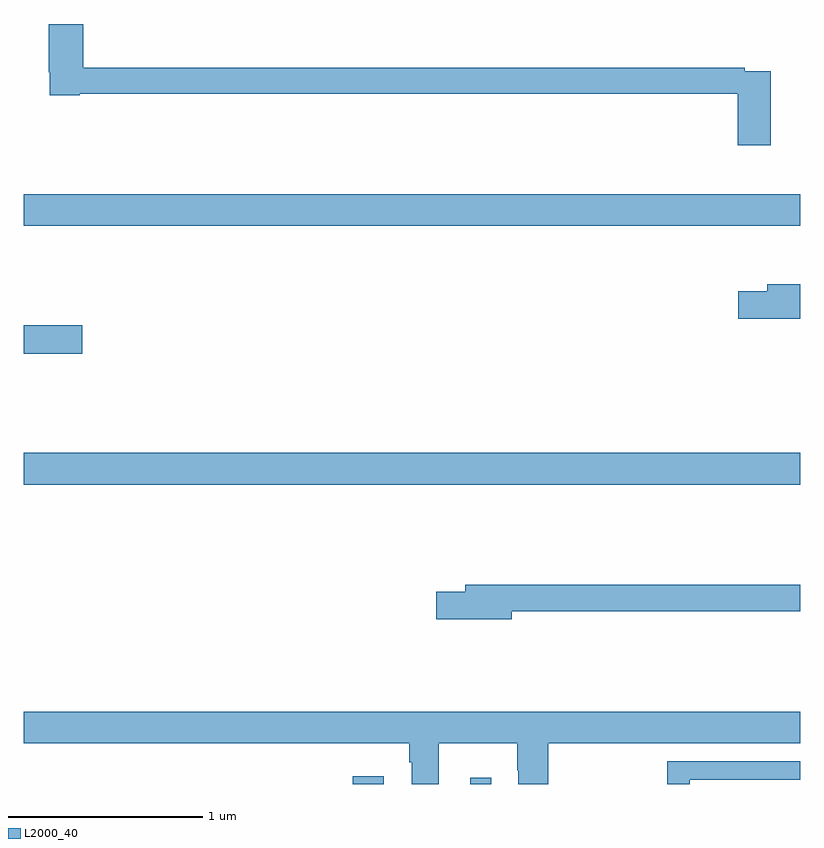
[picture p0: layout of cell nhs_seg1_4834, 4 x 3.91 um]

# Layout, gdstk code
import gdstk
lib = gdstk.Library(unit=1e-6, precision=1e-09)
def R(c, l, rs):  # rectangles x0, y0, x1, y1
    for r in rs: c.add(gdstk.rectangle(r[:2], r[2:], *l))
def P(c, l, *ps):  # polygons
    for p in ps: c.add(gdstk.Polygon(p, *l))
L2000_40 = (2000, 40)

nhs_seg1_4834 = lib.new_cell('nhs_seg1_4834')
R(nhs_seg1_4834, L2000_40, [(374.696,542.199,374.854,542.239), (375.299,542.199,375.409,542.23), (373,543.74,377,543.904), (373,544.415,373.303,544.562), (373,545.072,377,545.236)])
P(nhs_seg1_4834, L2000_40, [(376.846,545.868),(376.712,545.868),(376.712,545.888),(373.307,545.888),(373.307,546.112),(373.129,546.112),(373.129,545.863),(373.136,545.863),(373.136,545.744),(373.29,545.744),(373.29,545.752),(376.676,545.752),(376.676,545.487),(376.846,545.487)],
  [(377,544.771),(376.829,544.771),(376.829,544.737),(376.68,544.737),(376.68,544.595),(377,544.595)],
  [(375.514,543.088),(377,543.088),(377,543.224),(375.275,543.224),(375.275,543.188),(375.126,543.188),(375.126,543.046),(375.514,543.046)],
  [(375.139,542.408),(375.541,542.408),(375.541,542.27),(375.548,542.27),(375.548,542.199),(375.701,542.199),(375.701,542.408),(377,542.408),(377,542.572),(373,542.572),(373,542.408),(374.987,542.408),(374.987,542.312),(374.999,542.312),(374.999,542.199),(375.139,542.199)],
  [(376.431,542.22),(377,542.22),(377,542.316),(376.315,542.316),(376.315,542.199),(376.431,542.199)])

lib.write_gds('nhs_seg1_4834.gds')
